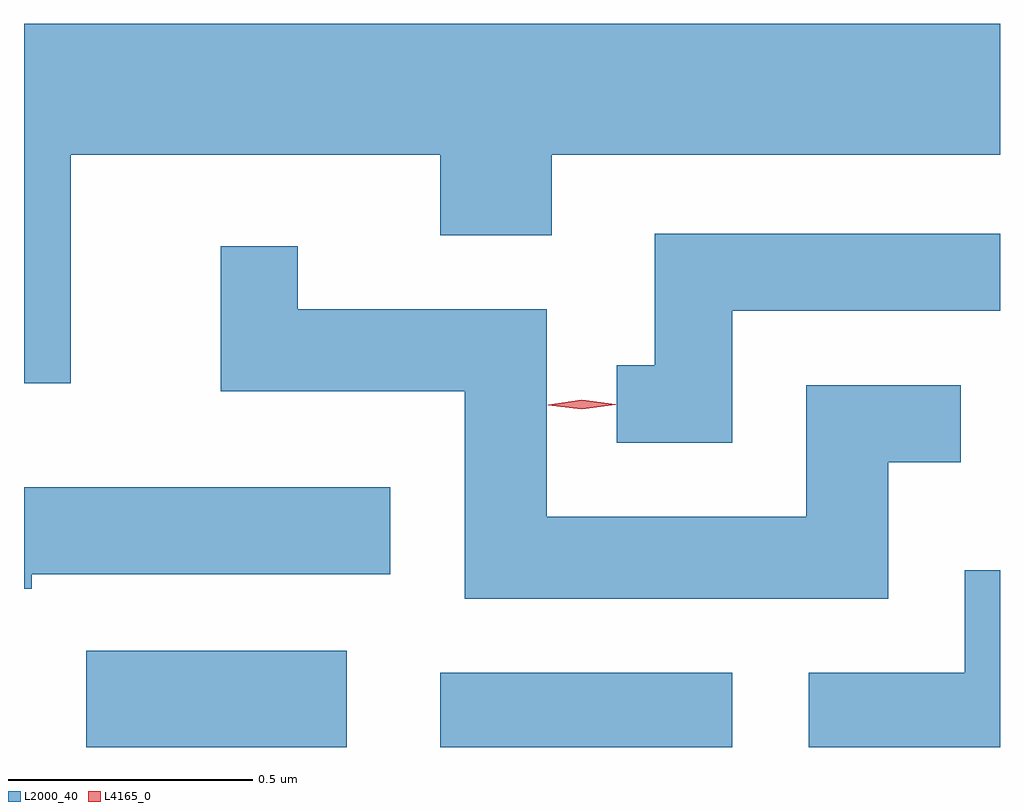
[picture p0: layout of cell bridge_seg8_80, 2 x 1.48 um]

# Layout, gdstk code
import gdstk
lib = gdstk.Library(unit=1e-6, precision=1e-09)
def R(c, l, rs):  # rectangles x0, y0, x1, y1
    for r in rs: c.add(gdstk.rectangle(r[:2], r[2:], *l))
def P(c, l, *ps):  # polygons
    for p in ps: c.add(gdstk.Polygon(p, *l))
L2000_40 = (2000, 40)
L4165_0 = (4165, 0)

bridge_seg8_80 = lib.new_cell('bridge_seg8_80')
R(bridge_seg8_80, L2000_40, [(1599.066,1806.342,1599.599,1806.539), (1599.791,1806.342,1600.389,1806.494)])
P(bridge_seg8_80, L2000_40, [(1599.034,1807.556),(1599.791,1807.556),(1599.791,1807.391),(1600.019,1807.391),(1600.019,1807.556),(1600.938,1807.556),(1600.938,1807.824),(1598.938,1807.824),(1598.938,1807.088),(1599.034,1807.088)],
  [(1600.389,1807.236),(1600.938,1807.236),(1600.938,1807.394),(1600.231,1807.394),(1600.231,1807.124),(1600.153,1807.124),(1600.153,1806.966),(1600.389,1806.966)],
  [(1600.709,1806.926),(1600.858,1806.926),(1600.858,1807.084),(1600.541,1807.084),(1600.541,1806.814),(1600.009,1806.814),(1600.009,1807.239),(1599.499,1807.239),(1599.499,1807.368),(1599.341,1807.368),(1599.341,1807.071),(1599.841,1807.071),(1599.841,1806.646),(1600.709,1806.646)],
  [(1598.954,1806.696),(1599.689,1806.696),(1599.689,1806.874),(1598.938,1806.874),(1598.938,1806.666),(1598.954,1806.666)],
  [(1600.938,1806.704),(1600.866,1806.704),(1600.866,1806.494),(1600.546,1806.494),(1600.546,1806.342),(1600.938,1806.342)])
P(bridge_seg8_80, L4165_0, [(1600.081,1807.034),(1600.012,1807.043),(1600.012,1807.044),(1600.012,1807.044),(1600.081,1807.054),(1600.151,1807.045),(1600.151,1807.045),(1600.151,1807.044)])

lib.write_gds('bridge_seg8_80.gds')
